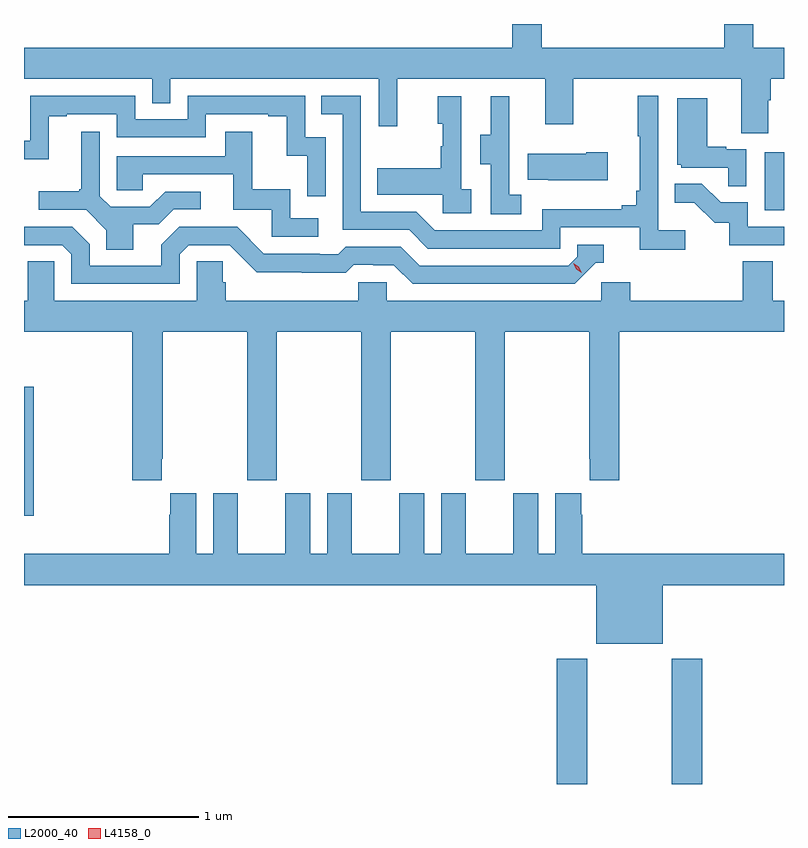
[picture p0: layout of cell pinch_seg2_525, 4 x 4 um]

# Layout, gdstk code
import gdstk
lib = gdstk.Library(unit=1e-6, precision=1e-09)
def R(c, l, rs):  # rectangles x0, y0, x1, y1
    for r in rs: c.add(gdstk.rectangle(r[:2], r[2:], *l))
def P(c, l, *ps):  # polygons
    for p in ps: c.add(gdstk.Polygon(p, *l))
L2000_40 = (2000, 40)
L4158_0 = (4158, 0)

pinch_seg2_525 = lib.new_cell('pinch_seg2_525')
R(pinch_seg2_525, L2000_40, [(1122.419,610.625,1122.579,611.284), (1123.024,610.625,1123.184,611.284), (1119.615,612.036,1119.665,612.716), (1123.514,613.644,1123.615,613.951)])
P(pinch_seg2_525, L2000_40, [(1123.531,614.224),(1123.544,614.224),(1123.544,614.336),(1123.615,614.336),(1123.615,614.5),(1123.454,614.5),(1123.454,614.625),(1123.301,614.625),(1123.301,614.5),(1122.341,614.5),(1122.341,614.624),(1122.185,614.624),(1122.185,614.5),(1119.615,614.5),(1119.615,614.336),(1120.29,614.336),(1120.29,614.209),(1120.386,614.209),(1120.386,614.336),(1121.481,614.336),(1121.481,614.088),(1121.579,614.088),(1121.579,614.336),(1122.359,614.336),(1122.359,614.097),(1122.507,614.097),(1122.507,614.336),(1123.391,614.336),(1123.391,614.05),(1123.531,614.05)],
  [(1123.096,613.54),(1122.954,613.54),(1122.954,614.248),(1122.846,614.248),(1122.846,614.035),(1122.857,614.035),(1122.857,613.747),(1122.838,613.747),(1122.838,613.67),(1122.761,613.67),(1122.761,613.651),(1122.342,613.651),(1122.342,613.539),(1121.778,613.539),(1121.679,613.638),(1121.388,613.638),(1121.388,614.247),(1121.179,614.247),(1121.179,614.151),(1121.292,614.151),(1121.292,613.542),(1121.642,613.542),(1121.741,613.443),(1122.438,613.443),(1122.438,613.554),(1122.857,613.554),(1122.857,613.438),(1123.096,613.438)],
  [(1121.202,614.028),(1121.094,614.028),(1121.094,614.247),(1120.476,614.247),(1120.476,614.124),(1120.2,614.124),(1120.2,614.247),(1119.648,614.247),(1119.648,614.011),(1119.615,614.011),(1119.615,613.913),(1119.745,613.913),(1119.745,614.139),(1119.841,614.139),(1119.841,614.151),(1120.104,614.151),(1120.104,614.028),(1120.572,614.028),(1120.572,614.151),(1120.901,614.151),(1120.901,614.139),(1120.997,614.139),(1120.997,613.931),(1121.106,613.931),(1121.106,613.719),(1121.202,613.719)],
  [(1122.232,613.727),(1122.168,613.727),(1122.168,614.031),(1122.17,614.031),(1122.17,614.245),(1122.071,614.245),(1122.071,614.043),(1122.017,614.043),(1122.017,613.888),(1122.072,613.888),(1122.072,613.624),(1122.232,613.624)],
  [(1121.968,613.754),(1121.916,613.754),(1121.916,614.245),(1121.792,614.245),(1121.792,614.1),(1121.818,614.1),(1121.818,613.982),(1121.808,613.982),(1121.808,613.867),(1121.473,613.867),(1121.473,613.727),(1121.82,613.727),(1121.82,613.629),(1121.968,613.629)],
  [(1123.416,613.965),(1123.31,613.965),(1123.31,613.978),(1123.21,613.978),(1123.21,614.233),(1123.052,614.233),(1123.052,613.884),(1123.074,613.884),(1123.074,613.869),(1123.321,613.869),(1123.321,613.771),(1123.416,613.771)],
  [(1120.189,613.57),(1120.324,613.57),(1120.404,613.65),(1120.546,613.65),(1120.546,613.743),(1120.358,613.743),(1120.277,613.662),(1120.071,613.662),(1120.014,613.719),(1120.014,614.059),(1119.917,614.059),(1119.917,613.756),(1119.906,613.756),(1119.906,613.744),(1119.693,613.744),(1119.693,613.647),(1119.942,613.647),(1120.049,613.54),(1120.049,613.438),(1120.189,613.438)],
  [(1121.164,613.602),(1121.016,613.602),(1121.016,613.756),(1120.817,613.756),(1120.817,614.059),(1120.673,614.059),(1120.673,613.929),(1120.104,613.929),(1120.104,613.749),(1120.241,613.749),(1120.241,613.833),(1120.715,613.833),(1120.715,613.647),(1120.92,613.647),(1120.92,613.506),(1121.164,613.506)],
  [(1122.688,613.95),(1122.575,613.95),(1122.575,613.942),(1122.265,613.942),(1122.265,613.805),(1122.373,613.805),(1122.373,613.802),(1122.688,613.802)],
  [(1123.615,613.557),(1123.425,613.557),(1123.425,613.686),(1123.281,613.686),(1123.183,613.784),(1123.039,613.784),(1123.039,613.685),(1123.143,613.685),(1123.25,613.578),(1123.327,613.578),(1123.327,613.461),(1123.615,613.461)],
  [(1120.434,613.413),(1120.482,613.461),(1120.698,613.461),(1120.84,613.319),(1121.076,613.319),(1121.076,613.317),(1121.309,613.317),(1121.351,613.359),(1121.454,613.359),(1121.454,613.356),(1121.561,613.356),(1121.66,613.257),(1122.513,613.257),(1122.624,613.368),(1122.667,613.368),(1122.667,613.464),(1122.528,613.464),(1122.528,613.401),(1122.48,613.353),(1121.697,613.353),(1121.598,613.452),(1121.309,613.452),(1121.27,613.413),(1121.171,613.413),(1121.171,613.416),(1120.878,613.416),(1120.737,613.557),(1120.431,613.557),(1120.337,613.463),(1120.337,613.353),(1119.96,613.353),(1119.96,613.467),(1119.87,613.557),(1119.654,613.557),(1119.654,613.559),(1119.615,613.559),(1119.615,613.461),(1119.816,613.461),(1119.864,613.413),(1119.864,613.257),(1120.434,613.257)],
  [(1119.774,613.376),(1119.635,613.376),(1119.635,613.168),(1119.615,613.168),(1119.615,613.004),(1120.184,613.004),(1120.184,612.225),(1120.339,612.225),(1120.339,612.337),(1120.344,612.337),(1120.344,613.004),(1120.789,613.004),(1120.789,612.225),(1120.944,612.225),(1120.944,613.004),(1121.389,613.004),(1121.389,612.225),(1121.544,612.225),(1121.544,613.004),(1121.989,613.004),(1121.989,612.225),(1122.144,612.225),(1122.144,613.004),(1122.589,613.004),(1122.589,612.337),(1122.593,612.337),(1122.593,612.225),(1122.749,612.225),(1122.749,613.004),(1123.615,613.004),(1123.615,613.168),(1123.557,613.168),(1123.557,613.376),(1123.397,613.376),(1123.397,613.168),(1122.806,613.168),(1122.806,613.266),(1122.654,613.266),(1122.654,613.168),(1121.523,613.168),(1121.523,613.266),(1121.373,613.266),(1121.373,613.168),(1120.676,613.168),(1120.676,613.266),(1120.661,613.266),(1120.661,613.376),(1120.524,613.376),(1120.524,613.168),(1119.774,613.168)],
  [(1122.976,611.672),(1123.615,611.672),(1123.615,611.836),(1122.554,611.836),(1122.554,612.041),(1122.547,612.041),(1122.547,612.154),(1122.41,612.154),(1122.41,611.836),(1122.322,611.836),(1122.322,612.154),(1122.191,612.154),(1122.191,611.836),(1121.941,611.836),(1121.941,612.154),(1121.81,612.154),(1121.81,611.836),(1121.722,611.836),(1121.722,612.154),(1121.591,612.154),(1121.591,611.836),(1121.341,611.836),(1121.341,612.154),(1121.21,612.154),(1121.21,611.836),(1121.122,611.836),(1121.122,612.154),(1120.991,612.154),(1120.991,611.836),(1120.741,611.836),(1120.741,612.154),(1120.61,612.154),(1120.61,611.836),(1120.522,611.836),(1120.522,612.154),(1120.385,612.154),(1120.385,612.041),(1120.379,612.041),(1120.379,611.836),(1119.615,611.836),(1119.615,611.672),(1122.626,611.672),(1122.626,611.363),(1122.976,611.363)])
P(pinch_seg2_525, L4158_0, [(1122.551,613.315),(1122.521,613.334),(1122.505,613.367),(1122.505,613.367),(1122.505,613.367),(1122.535,613.348),(1122.551,613.315),(1122.551,613.315)])

lib.write_gds('pinch_seg2_525.gds')
